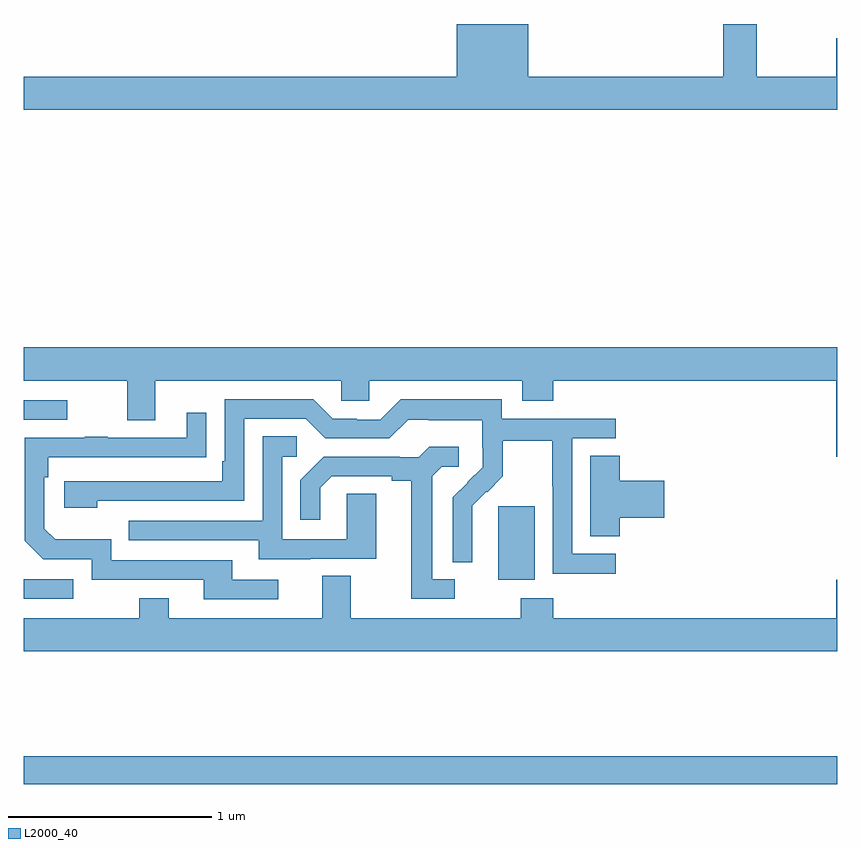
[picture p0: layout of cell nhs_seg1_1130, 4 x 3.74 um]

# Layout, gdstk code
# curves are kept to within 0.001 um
import gdstk
lib = gdstk.Library(unit=1e-6, precision=1e-09)
def R(c, l, rs):  # rectangles x0, y0, x1, y1
    for r in rs: c.add(gdstk.rectangle(r[:2], r[2:], *l))
def P(c, l, *ps):  # polygons
    for p in ps: c.add(gdstk.Polygon(p, *l))
L2000_40 = (2000, 40)

nhs_seg1_1130 = lib.new_cell('nhs_seg1_1130')
R(nhs_seg1_1130, L2000_40, [(173,504.46,177,504.596), (173,505.371,173.242,505.467), (175.334,505.466,175.513,505.827), (173,506.253,173.212,506.349)])
P(nhs_seg1_1130, L2000_40, [(177,508.129),(176.996,508.129),(176.996,507.94),(176.605,507.94),(176.605,508.199),(176.441,508.199),(176.441,507.94),(175.48,507.94),(175.48,508.199),(175.13,508.199),(175.13,507.94),(173,507.94),(173,507.776),(177,507.776)],
  [(177,506.608),(173,506.608),(173,506.444),(173.507,506.444),(173.507,506.25),(173.647,506.25),(173.647,506.444),(174.561,506.444),(174.561,506.346),(174.699,506.346),(174.699,506.444),(175.451,506.444),(175.451,506.345),(175.604,506.345),(175.604,506.444),(176.996,506.444),(176.996,506.07),(177,506.07)],
  [(175.912,505.593),(175.698,505.593),(175.698,506.16),(175.912,506.16),(175.912,506.256),(175.35,506.256),(175.35,506.353),(174.853,506.353),(174.753,506.253),(174.638,506.253),(174.638,506.256),(174.519,506.256),(174.423,506.352),(173.988,506.352),(173.988,506.047),(173.975,506.047),(173.975,505.95),(173.199,505.95),(173.199,505.82),(173.36,505.82),(173.36,505.854),(174.084,505.854),(174.084,506.256),(174.387,506.256),(174.483,506.16),(174.798,506.16),(174.891,506.253),(174.991,506.253),(174.991,506.249),(175.254,506.249),(175.254,506.115),(175.256,506.115),(175.256,506.018),(175.11,505.87),(175.11,505.552),(175.206,505.552),(175.205,505.829),(175.275,505.899),(175.278,505.896),(175.355,505.973),(175.355,506.148),(175.6,506.148),(175.6,505.924),(175.602,505.924),(175.602,505.495),(175.912,505.495)],
  [(174.25,505.464),(174.025,505.464),(174.025,505.56),(173.43,505.56),(173.43,505.663),(173.153,505.663),(173.1,505.716),(173.1,505.97),(173.12,505.97),(173.12,506.067),(173.897,506.068),(173.897,506.287),(173.801,506.287),(173.801,506.163),(173.411,506.163),(173.411,506.168),(173.299,506.168),(173.299,506.163),(173.004,506.163),(173.004,505.656),(173.094,505.566),(173.334,505.566),(173.334,505.464),(173.885,505.464),(173.885,505.368),(174.25,505.368)],
  [(174.409,505.569),(174.733,505.569),(174.733,505.889),(174.588,505.889),(174.588,505.665),(174.27,505.665),(174.27,506.07),(174.343,506.07),(174.343,506.171),(174.174,506.171),(174.174,505.755),(173.515,505.755),(173.515,505.659),(174.155,505.659),(174.155,505.565),(174.409,505.565)],
  [(175.12,505.467),(175.009,505.467),(175.009,505.975),(175.056,506.022),(175.138,506.022),(175.138,506.119),(174.994,506.119),(174.942,506.067),(174.848,506.067),(174.848,506.07),(174.476,506.07),(174.36,505.954),(174.36,505.761),(174.457,505.761),(174.457,505.917),(174.514,505.974),(174.809,505.974),(174.809,505.952),(174.905,505.952),(174.905,505.371),(175.12,505.371)],
  [(175.931,505.769),(176.149,505.769),(176.149,505.952),(175.931,505.952),(175.931,506.075),(175.787,506.075),(175.787,505.678),(175.931,505.678)],
  [(177,505.465),(176.996,505.465),(176.996,505.276),(175.604,505.276),(175.604,505.375),(175.444,505.375),(175.444,505.276),(174.607,505.276),(174.607,505.484),(174.467,505.484),(174.467,505.276),(173.713,505.276),(173.713,505.375),(173.566,505.375),(173.566,505.276),(173,505.276),(173,505.112),(177,505.112)])

lib.write_gds('nhs_seg1_1130.gds')
